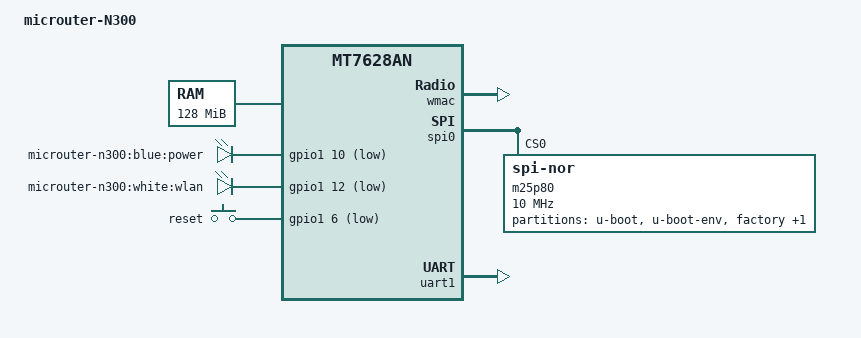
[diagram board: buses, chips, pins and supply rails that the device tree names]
/dts-v1/;

#include "mt7628an.dtsi"

#include <dt-bindings/gpio/gpio.h>
#include <dt-bindings/input/input.h>

/{
	compatible = "glinet,microuter-n300", "mediatek,mt7628an-soc";
	model = "microuter-N300";

	chosen {
		bootargs = "console=ttyS0,115200";
	};

	memory@0 {
		device_type = "memory";
		reg = <0x0 0x8000000>;
	};

	leds {
		compatible = "gpio-leds";

		power: power {
			label = "microuter-n300:blue:power";
			default-state = "on";
			gpios = <&gpio1 10 GPIO_ACTIVE_LOW>;
		};

		wlan {
			label = "microuter-n300:white:wlan";
			gpios = <&gpio1 12 GPIO_ACTIVE_LOW>;
		};
	};

	keys {	
		compatible = "gpio-keys-polled";
		poll-interval = <20>;

		reset {
			label = "reset";
			gpios = <&gpio1 6 GPIO_ACTIVE_LOW>;
			linux,code = <KEY_RESTART>;
		};
	};
};

&pinctrl {
	state_default: pinctrl0 {
		gpio {
			ralink,group = "wdt", "wled_an", "p1led_an";
			ralink,function = "gpio";
		};
	};
};

&ethernet {
	mtd-mac-address = <&factory 0x4>;
};

&wmac {
	status = "okay";
	ralink,mtd-eeprom = <&factory 0x4>;
};

&spi0 {
	status = "okay";

	m25p80@0 {
		compatible = "jedec,spi-nor";
		reg = <0>;
		spi-max-frequency = <10000000>;

		partitions {
			compatible = "fixed-partitions";
			#address-cells = <1>;
			#size-cells = <1>;

			partition@0 {
				label = "u-boot";
				reg = <0x0 0x30000>;
				read-only;
			};

			partition@30000 {
				label = "u-boot-env";
				reg = <0x30000 0x10000>;
				read-only;
			};

			factory: partition@40000 {
				label = "factory";
				reg = <0x40000 0x10000>;
				read-only;
			};

			partition@50000 {
				compatible = "denx,uimage";
				label = "firmware";
				reg = <0x50000 0xfb0000>;
			};
		};
	};
};

&uart1 {
	status = "okay";
};
